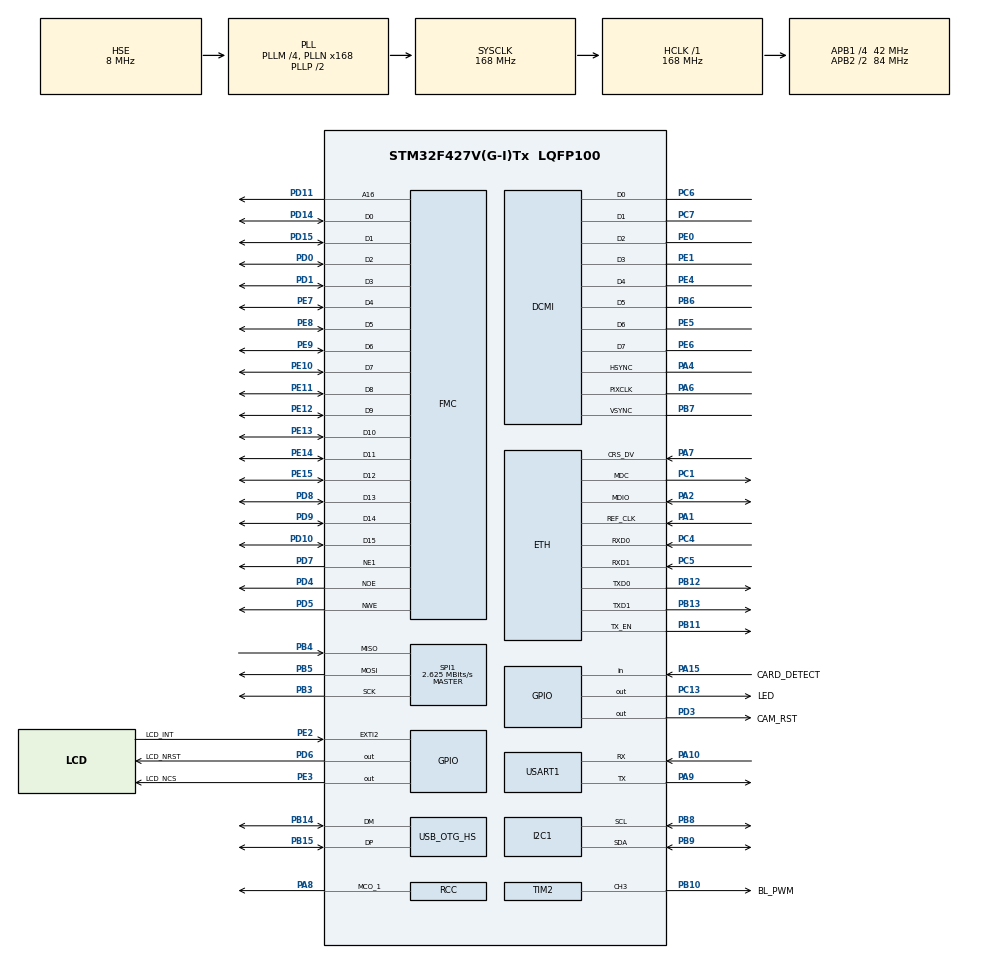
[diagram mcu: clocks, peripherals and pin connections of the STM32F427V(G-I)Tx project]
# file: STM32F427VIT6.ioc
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DCMI.CaptureRate=DCMI_CR_ALL_FRAME
DCMI.HSPolarity=DCMI_HSPOLARITY_LOW
DCMI.JPEGMode=DCMI_JPEG_ENABLE
DCMI.PCKPolarity=DCMI_PCKPOLARITY_RISING
DCMI.VSPolarity=DCMI_VSPOLARITY_LOW
Dma.DCMI.0.Direction=DMA_PERIPH_TO_MEMORY
Dma.DCMI.0.FIFOMode=DMA_FIFOMODE_DISABLE
Dma.DCMI.0.Instance=DMA2_Stream1
Dma.DCMI.0.MemDataAlignment=DMA_MDATAALIGN_WORD
Dma.DCMI.0.MemInc=DMA_MINC_ENABLE
Dma.DCMI.0.Mode=DMA_NORMAL
Dma.DCMI.0.PeriphDataAlignment=DMA_PDATAALIGN_WORD
Dma.DCMI.0.PeriphInc=DMA_PINC_DISABLE
Dma.DCMI.0.Priority=DMA_PRIORITY_VERY_HIGH
Dma.MEMTOMEM.1.Direction=DMA_MEMORY_TO_MEMORY
Dma.MEMTOMEM.1.FIFOMode=DMA_FIFOMODE_ENABLE
Dma.MEMTOMEM.1.FIFOThreshold=DMA_FIFO_THRESHOLD_FULL
Dma.MEMTOMEM.1.Instance=DMA2_Stream0
Dma.MEMTOMEM.1.MemBurst=DMA_MBURST_SINGLE
Dma.MEMTOMEM.1.MemDataAlignment=DMA_MDATAALIGN_WORD
Dma.MEMTOMEM.1.MemInc=DMA_MINC_ENABLE
Dma.MEMTOMEM.1.Mode=DMA_NORMAL
Dma.MEMTOMEM.1.PeriphBurst=DMA_PBURST_SINGLE
Dma.MEMTOMEM.1.PeriphDataAlignment=DMA_PDATAALIGN_WORD
Dma.MEMTOMEM.1.PeriphInc=DMA_PINC_ENABLE
Dma.MEMTOMEM.1.Priority=DMA_PRIORITY_VERY_HIGH
Dma.Request0=DCMI
Dma.Request1=MEMTOMEM
ETH.MediaInterface=HAL_ETH_RMII_MODE
ETH.RxMode=ETH_RXPOLLING_MODE
FMC.AddressSetupTime1=3
FMC.BusTurnAroundDuration1=2
FMC.DataSetupTime1=2
FMC.ExtendedMode1=FMC_EXTENDED_MODE_DISABLE
LWIP.BSP.number=1
LWIP.Version=v2.1.2_Cube
LWIP0.BSP.STBoard=false
LWIP0.BSP.api=BSP_COMPONENT_DRIVER
LWIP0.BSP.component=DP83848
LWIP0.BSP.instance=DP83848
LWIP0.BSP.name=Driver_PHY
LWIP0.BSP.semaphore=S_DP83848
LWIP0.BSP.solution=DP83848
Mcu.Family=STM32F4
Mcu.Name=STM32F427V(G-I)Tx
Mcu.Package=LQFP100
NVIC.DCMI_IRQn=true\:0\:0\:false\:false\:true\:true\:true\:true
NVIC.DMA2_Stream0_IRQn=true\:0\:0\:false\:false\:true\:true\:true\:true
NVIC.DMA2_Stream1_IRQn=true\:0\:0\:false\:false\:true\:false\:true\:true
NVIC.EXTI2_IRQn=true\:0\:0\:false\:false\:true\:true\:true\:true
NVIC.OTG_HS_EP1_IN_IRQn=true\:0\:0\:false\:false\:true\:true\:true\:true
NVIC.OTG_HS_EP1_OUT_IRQn=true\:0\:0\:false\:false\:true\:true\:true\:true
NVIC.OTG_HS_IRQn=true\:0\:0\:false\:false\:true\:true\:true\:true
NVIC.PriorityGroup=NVIC_PRIORITYGROUP_4
NVIC.TIM1_UP_TIM10_IRQn=true\:15\:0\:false\:false\:true\:false\:true\:true
NVIC.TimeBase=TIM1_UP_TIM10_IRQn
NVIC.TimeBaseIP=TIM1
PA1.Mode=RMII
PA1.Signal=ETH_REF_CLK
PA10.Mode=Asynchronous
PA10.Signal=USART1_RX
PA13.Mode=Serial_Wire
PA13.Signal=SYS_JTMS-SWDIO
PA14.Mode=Serial_Wire
PA14.Signal=SYS_JTCK-SWCLK
PA15.GPIO_Label=CARD_DETECT
PA15.Signal=GPIO_Input
PA2.Mode=RMII
PA2.Signal=ETH_MDIO
PA4.GPIO_Mode=GPIO_MODE_AF_PP
PA4.GPIO_PuPd=GPIO_NOPULL
PA4.GPIO_Speed=GPIO_SPEED_FREQ_VERY_HIGH
PA4.Mode=Slave_8_bits_External_Synchro
PA4.Signal=DCMI_HSYNC
PA6.GPIO_Mode=GPIO_MODE_AF_PP
PA6.GPIO_PuPd=GPIO_NOPULL
PA6.GPIO_Speed=GPIO_SPEED_FREQ_VERY_HIGH
PA6.Mode=Slave_8_bits_External_Synchro
PA6.Signal=DCMI_PIXCLK
PA7.Mode=RMII
PA7.Signal=ETH_CRS_DV
PA8.GPIO_PuPd=GPIO_PULLUP
PA8.GPIO_Speed=GPIO_SPEED_FREQ_VERY_HIGH
PA8.Mode=Clock-out-1
PA8.Signal=RCC_MCO_1
PA9.Mode=Asynchronous
PA9.Signal=USART1_TX
PB10.GPIO_Label=BL_PWM
PB10.Signal=S_TIM2_CH3
PB11.Mode=RMII
PB11.Signal=ETH_TX_EN
PB12.Mode=RMII
PB12.Signal=ETH_TXD0
PB13.Mode=RMII
PB13.Signal=ETH_TXD1
PB14.Mode=Device_Only_FS
PB14.Signal=USB_OTG_HS_DM
PB15.Mode=Device_Only_FS
PB15.Signal=USB_OTG_HS_DP
PB3.Mode=Full_Duplex_Master
PB3.Signal=SPI1_SCK
PB4.Mode=Full_Duplex_Master
PB4.Signal=SPI1_MISO
PB5.Mode=Full_Duplex_Master
PB5.Signal=SPI1_MOSI
PB6.GPIO_Mode=GPIO_MODE_AF_PP
PB6.GPIO_PuPd=GPIO_NOPULL
PB6.GPIO_Speed=GPIO_SPEED_FREQ_VERY_HIGH
PB6.Mode=Slave_8_bits_External_Synchro
PB6.Signal=DCMI_D5
PB7.GPIO_Mode=GPIO_MODE_AF_PP
PB7.GPIO_PuPd=GPIO_NOPULL
PB7.GPIO_Speed=GPIO_SPEED_FREQ_VERY_HIGH
PB7.Mode=Slave_8_bits_External_Synchro
PB7.Signal=DCMI_VSYNC
PB8.Mode=I2C
PB8.Signal=I2C1_SCL
PB9.Mode=I2C
PB9.Signal=I2C1_SDA
PC1.Mode=RMII
PC1.Signal=ETH_MDC
PC13.GPIO_Label=LED
PC13.Signal=GPIO_Output
PC14/OSC32_IN.Mode=LSE-External-Oscillator
PC14/OSC32_IN.Signal=RCC_OSC32_IN
PC15/OSC32_OUT.Mode=LSE-External-Oscillator
PC15/OSC32_OUT.Signal=RCC_OSC32_OUT
PC4.Mode=RMII
PC4.Signal=ETH_RXD0
PC5.Mode=RMII
PC5.Signal=ETH_RXD1
PC6.GPIO_Mode=GPIO_MODE_AF_PP
PC6.GPIO_PuPd=GPIO_NOPULL
PC6.GPIO_Speed=GPIO_SPEED_FREQ_VERY_HIGH
PC6.Mode=Slave_8_bits_External_Synchro
PC6.Signal=DCMI_D0
PC7.GPIO_Mode=GPIO_MODE_AF_PP
PC7.GPIO_PuPd=GPIO_NOPULL
PC7.GPIO_Speed=GPIO_SPEED_FREQ_VERY_HIGH
PC7.Mode=Slave_8_bits_External_Synchro
PC7.Signal=DCMI_D1
PD0.GPIO_PuPd=GPIO_NOPULL
PD0.GPIO_Speed_High_Default=GPIO_SPEED_FREQ_VERY_HIGH
PD0.Mode=16b-d1
PD0.Signal=FMC_D2
PD1.GPIO_PuPd=GPIO_NOPULL
PD1.GPIO_Speed_High_Default=GPIO_SPEED_FREQ_VERY_HIGH
PD1.Mode=16b-d1
PD1.Signal=FMC_D3
PD10.GPIO_PuPd=GPIO_NOPULL
PD10.GPIO_Speed_High_Default=GPIO_SPEED_FREQ_VERY_HIGH
PD10.Mode=16b-d1
PD10.Signal=FMC_D15
PD11.GPIO_PuPd=GPIO_NOPULL
PD11.GPIO_Speed_High_Default=GPIO_SPEED_FREQ_VERY_HIGH
PD11.Mode=A16_1
PD11.Signal=FMC_A16
PD14.GPIO_PuPd=GPIO_NOPULL
PD14.GPIO_Speed_High_Default=GPIO_SPEED_FREQ_VERY_HIGH
PD14.Mode=16b-d1
PD14.Signal=FMC_D0
PD15.GPIO_PuPd=GPIO_NOPULL
PD15.GPIO_Speed_High_Default=GPIO_SPEED_FREQ_VERY_HIGH
PD15.Mode=16b-d1
PD15.Signal=FMC_D1
PD3.GPIO_Label=CAM_RST
PD3.Signal=GPIO_Output
PD4.GPIO_PuPd=GPIO_NOPULL
PD4.GPIO_Speed_High_Default=GPIO_SPEED_FREQ_VERY_HIGH
PD4.Mode=Lcd1
PD4.Signal=FMC_NOE
PD5.GPIO_PuPd=GPIO_NOPULL
PD5.GPIO_Speed_High_Default=GPIO_SPEED_FREQ_VERY_HIGH
PD5.Mode=Lcd1
PD5.Signal=FMC_NWE
PD6.GPIO_Label=LCD_NRST
PD6.Signal=GPIO_Output
PD7.GPIO_PuPd=GPIO_NOPULL
PD7.GPIO_Speed_High_Default=GPIO_SPEED_FREQ_VERY_HIGH
PD7.Mode=NorPsramChipSelect1_1
PD7.Signal=FMC_NE1
PD8.GPIO_PuPd=GPIO_NOPULL
PD8.GPIO_Speed_High_Default=GPIO_SPEED_FREQ_VERY_HIGH
PD8.Mode=16b-d1
PD8.Signal=FMC_D13
PD9.GPIO_PuPd=GPIO_NOPULL
PD9.GPIO_Speed_High_Default=GPIO_SPEED_FREQ_VERY_HIGH
PD9.Mode=16b-d1
PD9.Signal=FMC_D14
PE0.GPIO_Mode=GPIO_MODE_AF_PP
PE0.GPIO_PuPd=GPIO_NOPULL
PE0.GPIO_Speed=GPIO_SPEED_FREQ_VERY_HIGH
PE0.Mode=Slave_8_bits_External_Synchro
PE0.Signal=DCMI_D2
PE1.GPIO_Mode=GPIO_MODE_AF_PP
PE1.GPIO_PuPd=GPIO_NOPULL
PE1.GPIO_Speed=GPIO_SPEED_FREQ_VERY_HIGH
PE1.Mode=Slave_8_bits_External_Synchro
PE1.Signal=DCMI_D3
PE10.Mode=16b-d1
PE10.Signal=FMC_D7
PE11.Mode=16b-d1
PE11.Signal=FMC_D8
PE12.Mode=16b-d1
PE12.Signal=FMC_D9
PE13.Mode=16b-d1
PE13.Signal=FMC_D10
PE14.Mode=16b-d1
PE14.Signal=FMC_D11
PE15.Mode=16b-d1
PE15.Signal=FMC_D12
PE2.GPIO_Label=LCD_INT
PE2.GPIO_ModeDefaultEXTI=GPIO_MODE_IT_RISING_FALLING
PE2.Signal=GPXTI2
PE3.GPIO_Label=LCD_NCS
PE3.GPIO_Speed=GPIO_SPEED_FREQ_HIGH
PE3.Signal=GPIO_Output
PE4.GPIO_Mode=GPIO_MODE_AF_PP
PE4.GPIO_PuPd=GPIO_NOPULL
PE4.GPIO_Speed=GPIO_SPEED_FREQ_VERY_HIGH
PE4.Mode=Slave_8_bits_External_Synchro
PE4.Signal=DCMI_D4
PE5.GPIO_Mode=GPIO_MODE_AF_PP
PE5.GPIO_PuPd=GPIO_NOPULL
PE5.GPIO_Speed=GPIO_SPEED_FREQ_VERY_HIGH
PE5.Mode=Slave_8_bits_External_Synchro
PE5.Signal=DCMI_D6
PE6.GPIO_Mode=GPIO_MODE_AF_PP
PE6.GPIO_PuPd=GPIO_NOPULL
PE6.GPIO_Speed=GPIO_SPEED_FREQ_VERY_HIGH
PE6.Mode=Slave_8_bits_External_Synchro
PE6.Signal=DCMI_D7
PE7.GPIO_PuPd=GPIO_NOPULL
PE7.GPIO_Speed_High_Default=GPIO_SPEED_FREQ_VERY_HIGH
PE7.Mode=16b-d1
PE7.Signal=FMC_D4
PE8.GPIO_PuPd=GPIO_NOPULL
PE8.GPIO_Speed_High_Default=GPIO_SPEED_FREQ_HIGH
PE8.Mode=16b-d1
PE8.Signal=FMC_D5
PE9.Mode=16b-d1
PE9.Signal=FMC_D6
PH0/OSC_IN.Mode=HSE-External-Oscillator
PH0/OSC_IN.Signal=RCC_OSC_IN
PH1/OSC_OUT.Mode=HSE-External-Oscillator
PH1/OSC_OUT.Signal=RCC_OSC_OUT
ProjectManager.HeapSize=0x200
ProjectManager.StackSize=0x400
ProjectManager.TargetToolchain=CMake
RCC.48MHZClocksFreq_Value=48000000
RCC.AHBFreq_Value=168000000
RCC.APB1CLKDivider=RCC_HCLK_DIV4
RCC.APB1Freq_Value=42000000
RCC.APB1TimFreq_Value=84000000
RCC.APB2CLKDivider=RCC_HCLK_DIV2
RCC.APB2Freq_Value=84000000
RCC.APB2TimFreq_Value=168000000
RCC.CortexFreq_Value=168000000
RCC.HCLKFreq_Value=168000000
RCC.HSE_VALUE=8000000
RCC.HSI_VALUE=16000000
RCC.PLLM=4
RCC.PLLN=168
RCC.PLLQ=7
RCC.RCC_MCO1Source=RCC_MCO1SOURCE_PLLCLK
RCC.RCC_MCODiv1=RCC_MCODIV_5
RCC.SYSCLKFreq_VALUE=168000000
RCC.SYSCLKSource=RCC_SYSCLKSOURCE_PLLCLK
RCC.VCOOutputFreq_Value=336000000
SH.S_TIM2_CH3.0=TIM2_CH3,PWM Generation3 CH3
SPI1.BaudRatePrescaler=SPI_BAUDRATEPRESCALER_32
SPI1.CalculateBaudRate=2.625 MBits/s
SPI1.Direction=SPI_DIRECTION_2LINES
SPI1.Mode=SPI_MODE_MASTER
SPI1.VirtualType=VM_MASTER
TIM2.Channel-PWM\ Generation3\ CH3=TIM_CHANNEL_3
TIM2.Period=100
TIM2.Prescaler=42
USART1.VirtualMode=VM_ASYNC
USB_OTG_HS.Sof_enable-Device_Only_FS=ENABLE
USB_OTG_HS.VirtualMode-Device_Only_FS=Device_Only_FS
USB_OTG_HS.dma_enable-Device_Only_FS=DISABLE
VP_LWIP_VS_Enabled.Mode=Enabled
VP_SYS_VS_tim1.Mode=TIM1
board=custom

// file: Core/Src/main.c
/* USER CODE BEGIN Header */
/**
 ******************************************************************************
 * @file           : main.c
 * @brief          : Main program body
 ******************************************************************************
 * @attention
 *
 * Copyright (c) 2025 STMicroelectronics.
 * All rights reserved.
 *
 * This software is licensed under terms that can be found in the LICENSE file
 * in the root directory of this software component.
 * If no LICENSE file comes with this software, it is provided AS-IS.
 *
 ******************************************************************************
 */
/* USER CODE END Header */
#include "main.h"
#include "dcmi.h"
#include "dma.h"
#include "i2c.h"
#include "lwip.h"
#include "spi.h"
#include "tim.h"
#include "usart.h"
#include "usb_otg.h"
#include "gpio.h"
#include "fmc.h"

/* USER CODE BEGIN Includes */
#include <string.h>
#include "ili9341.h"
#include "ov5640.h"
#include "XPT2046_touch.h"
#include "usbd_cdc_acm_if.h"
#include "usbd_video_if.h"
/* USER CODE END Includes */

/* USER CODE BEGIN PV */

// Khai báo biến cho Netconn

/* USER CODE END PV */

void SystemClock_Config(void);

/* USER CODE BEGIN 0 */

extern bool isConnected;
#define BUF_SIZE  48 * 1024
uint8_t cameraData[BUF_SIZE] __attribute__((aligned(4)));

volatile int frame_ready = 0;
volatile int32_t jpeg_end = -1;
volatile uint32_t jpeg_size = 0;
volatile uint8_t uvc_capture_request = 0;
volatile uint32_t frame_counter = 0;
float current_fps = 0.0f;
uint32_t last_fps_tick = 0;

volatile uint32_t t_start_capture = 0;
volatile uint32_t t_capture_done = 0;
uint32_t t_tcp_done = 0;
uint32_t dur_capture_ms = 0; // Thời gian chụp (DCMI -> RAM)
uint32_t dur_tcp_ms = 0;     // Thời gian gửi (RAM -> PC qua TCP)

/* --- Hàm Helper: Reset JFIFO OV5640 --- */
void OV5640_Reset_JFIFO(void)
{
  OV5640_WR_Reg(0x3002, 0x1C); // Reset JFIFO, SFIFO
  for (volatile int i = 0; i < 5000; i++); // Loop delay an toàn trong IRQ
  OV5640_WR_Reg(0x3002, 0x00); // Bật lại JFIFO, SFIFO
}

void HAL_DCMI_FrameEventCallback(DCMI_HandleTypeDef* hdcmi)
{
  t_capture_done = HAL_GetTick(); // 1. Đánh dấu mốc chụp xong frame
  uint32_t remain = __HAL_DMA_GET_COUNTER(hdcmi->DMA_Handle);
  uint32_t total_transfers = BUF_SIZE / 4;
  uint32_t transferred = total_transfers - remain;
  uint32_t bytes = transferred * 4;
  int32_t jpeg_start = -1;
  jpeg_end = -1;
  jpeg_size = 0;

  for (int32_t i = 1; i < (int32_t)bytes; i++)
  {
    if ((cameraData[i - 1] == 0xFFU) && (cameraData[i] == 0xD8U))
    {
      jpeg_start = i - 1;
      break;
    }
  }

  for (int32_t i = (int32_t)bytes - 1; i > 0; i--)
  {
    if ((cameraData[i - 1] == 0xFFU) && (cameraData[i] == 0xD9U))
    {
      jpeg_end = i;
      break;
    }
  }

  if ((jpeg_start < 0) || (jpeg_end < jpeg_start))
  {
    /*
     * Do not leave the capture state idle after a malformed frame.
     * The main loop will retry once the DCMI callback has returned.
     */
    uvc_capture_request = 1U;
  }
  else
  {
    jpeg_size = (uint32_t)(jpeg_end - jpeg_start + 1);

    /*
     * The current UVC application streams from cameraData[0].
     * Move the JPEG to the beginning if the sensor produced a prefix.
     */
    if (jpeg_start > 0)
    {
      (void)memmove(cameraData,
                    &cameraData[jpeg_start],
                    jpeg_size);
    }
  }

  HAL_DCMI_Stop(hdcmi);
  frame_ready = (jpeg_size > 0U) ? 1 : 0;
}

void HAL_GPIO_EXTI_Callback(uint16_t GPIO_Pin)
{
  if (GPIO_Pin == LCD_INT_Pin)
  {
    if (XPT2046_TouchPressed())
    {
    }
  }
}

int _write(int file, char* data, int len)
{
  CDC_Transmit(0, (uint8_t*)data, len);
  return len;
}

#define DFU_MAGIC_CODE     0x44465531U

static void RequestDfuBootloader(void) __attribute__((noreturn));

void Camera_Init_OV5640();
void Camera_Init_OV2640();
void LCD_Init();
int32_t tcp_sent_count = 0;

/* USER CODE END 0 */

int main(void)
{

  /* MCU Configuration--------------------------------------------------------*/

  /* Reset of all peripherals, Initializes the Flash interface and the Systick. */
  HAL_Init();

  /* Configure the system clock */
  SystemClock_Config();

  /* Initialize all configured peripherals */
  MX_GPIO_Init();
  MX_DMA_Init();
  MX_FMC_Init();
  MX_TIM2_Init();
  MX_SPI1_Init();
  MX_DCMI_Init();
  MX_USART1_UART_Init();
  MX_I2C1_Init();
  MX_LWIP_Init();
  MX_USB_OTG_HS_PCD_Init();
  /* USER CODE BEGIN 2 */
  HAL_GPIO_WritePin(GPIOC, GPIO_PIN_13, 1);
  MX_USB_DEVICE_Init();
  LCD_Init();
  Camera_Init_OV5640();

	/* Start the Camera capture */
	__HAL_DCMI_ENABLE_IT(&hdcmi, DCMI_IT_FRAME);
	t_start_capture = HAL_GetTick(); // Đánh dấu mốc bắt đầu Capture frame 1
	HAL_DCMI_Start_DMA(&hdcmi, DCMI_MODE_SNAPSHOT, (uint32_t)(&cameraData[0]), BUF_SIZE / 4);
  /* USER CODE END 2 */

  /* Infinite loop */
  /* USER CODE BEGIN WHILE */
	while (1)
  {
    if (CDC_DfuRequested() != 0U)
    {
      RequestDfuBootloader();
    }

    /*
     * Keep the DMA buffer untouched while USB is transmitting it.
     * VIDEO_Itf_Data() raises this request after the last packet.
     */
    if ((uvc_capture_request != 0U) && (frame_ready == 0))
    {
      uvc_capture_request = 0U;
      jpeg_end = -1;
      jpeg_size = 0U;
      t_start_capture = HAL_GetTick();
      __HAL_DCMI_ENABLE_IT(&hdcmi, DCMI_IT_FRAME);
      HAL_DCMI_Start_DMA(&hdcmi,
                               DCMI_MODE_SNAPSHOT,
                               (uint32_t)cameraData,
                               BUF_SIZE / 4);
    }
    HAL_Delay(1);
    /* USER CODE END WHILE */

  }
}

void SystemClock_Config(void)
{
  RCC_OscInitTypeDef RCC_OscInitStruct = {0};
  RCC_ClkInitTypeDef RCC_ClkInitStruct = {0};

  /** Configure the main internal regulator output voltage
  */
  __HAL_RCC_PWR_CLK_ENABLE();
  __HAL_PWR_VOLTAGESCALING_CONFIG(PWR_REGULATOR_VOLTAGE_SCALE1);

  /** Initializes the RCC Oscillators according to the specified parameters
  * in the RCC_OscInitTypeDef structure.
  */
  RCC_OscInitStruct.OscillatorType = RCC_OSCILLATORTYPE_HSE;
  RCC_OscInitStruct.HSEState = RCC_HSE_ON;
  RCC_OscInitStruct.PLL.PLLState = RCC_PLL_ON;
  RCC_OscInitStruct.PLL.PLLSource = RCC_PLLSOURCE_HSE;
  RCC_OscInitStruct.PLL.PLLM = 4;
  RCC_OscInitStruct.PLL.PLLN = 168;
  RCC_OscInitStruct.PLL.PLLP = RCC_PLLP_DIV2;
  RCC_OscInitStruct.PLL.PLLQ = 7;
  if (HAL_RCC_OscConfig(&RCC_OscInitStruct) != HAL_OK)
  {
    Error_Handler();
  }

  /** Initializes the CPU, AHB and APB buses clocks
  */
  RCC_ClkInitStruct.ClockType = RCC_CLOCKTYPE_HCLK|RCC_CLOCKTYPE_SYSCLK
                              |RCC_CLOCKTYPE_PCLK1|RCC_CLOCKTYPE_PCLK2;
  RCC_ClkInitStruct.SYSCLKSource = RCC_SYSCLKSOURCE_PLLCLK;
  RCC_ClkInitStruct.AHBCLKDivider = RCC_SYSCLK_DIV1;
  RCC_ClkInitStruct.APB1CLKDivider = RCC_HCLK_DIV4;
  RCC_ClkInitStruct.APB2CLKDivider = RCC_HCLK_DIV2;

  if (HAL_RCC_ClockConfig(&RCC_ClkInitStruct, FLASH_LATENCY_5) != HAL_OK)
  {
    Error_Handler();
  }
  HAL_RCC_MCOConfig(RCC_MCO1, RCC_MCO1SOURCE_PLLCLK, RCC_MCODIV_5);
}

/* USER CODE BEGIN 4 */

static void RequestDfuBootloader(void)
{
  __HAL_RCC_PWR_CLK_ENABLE();
  SET_BIT(PWR->CR, PWR_CR_DBP);
  RTC->BKP0R = DFU_MAGIC_CODE;
  __DSB();
  NVIC_SystemReset();

  for (;;)
  {
  }
}

/* USER CODE END 4 */

void HAL_TIM_PeriodElapsedCallback(TIM_HandleTypeDef *htim)
{
  if (htim->Instance == TIM1)
  {
    HAL_IncTick();
  }
}

void Error_Handler(void)
{
	__disable_irq();
	while (1)
	{
	}
}
